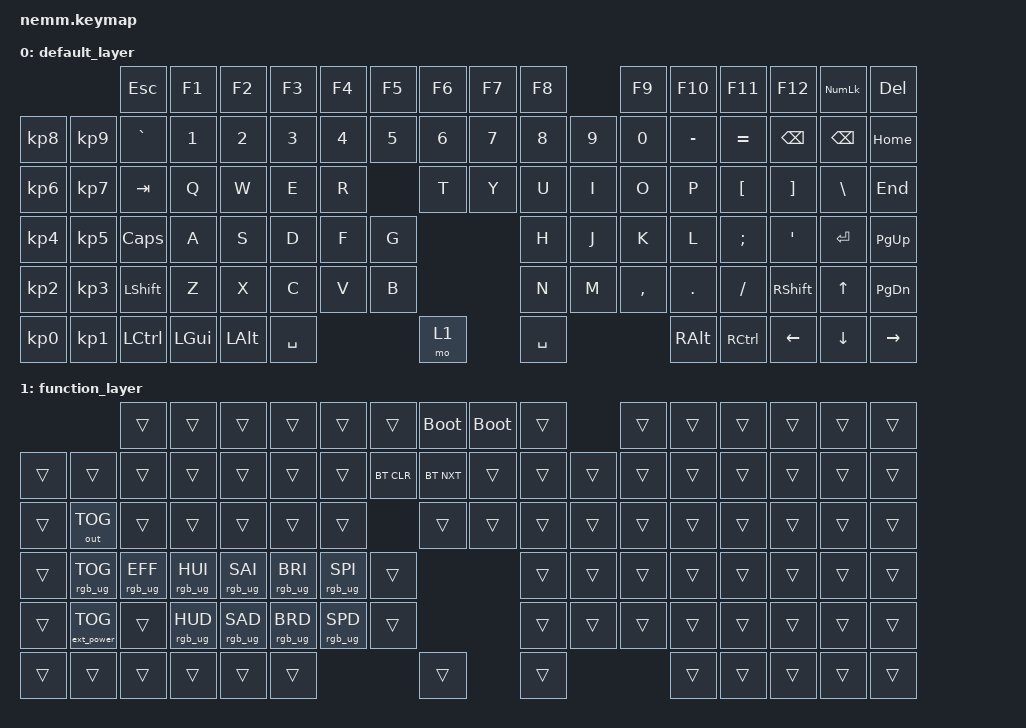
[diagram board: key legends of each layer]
/*
# Copyright (c) 2021 The ZMK Contributors
*
* SPDX-License-Identifier: MIT
*/

#include <behaviors.dtsi>
#include <dt-bindings/zmk/keys.h>
#include <dt-bindings/zmk/bt.h>
#include <dt-bindings/zmk/outputs.h>
#include <dt-bindings/zmk/rgb.h>
#include <dt-bindings/zmk/ext_power.h>

/ {
    keymap {
        compatible = "zmk,keymap";

        default_layer {
            bindings = <
                         &kp ESC    &kp F1    &kp F2     &kp F3  &kp F4  &kp F5  &kp F6  &kp F7     &kp F8             &kp F9    &kp F10    &kp F11    &kp F12  &kp KP_NUMLOCK  &kp DELETE
 &kp KP_N8  &kp KP_N9  &kp GRAVE    &kp N1    &kp N2     &kp N3  &kp N4  &kp N5  &kp N6  &kp N7     &kp N8  &kp N9     &kp N0  &kp MINUS  &kp EQUAL   &kp BSPC        &kp BSPC    &kp HOME
 &kp KP_N6  &kp KP_N7    &kp TAB     &kp Q     &kp W      &kp E   &kp R           &kp T   &kp Y      &kp U   &kp I      &kp O      &kp P   &kp LBKT   &kp RBKT        &kp BSLH     &kp END
 &kp KP_N4  &kp KP_N5   &kp CAPS     &kp A     &kp S      &kp D   &kp F           &kp G   &kp H              &kp J      &kp K      &kp L   &kp SEMI    &kp SQT         &kp RET   &kp PG_UP
 &kp KP_N2  &kp KP_N3  &kp LSHFT     &kp Z     &kp X      &kp C   &kp V           &kp B   &kp N              &kp M  &kp COMMA    &kp DOT   &kp FSLH  &kp RSHFT          &kp UP   &kp PG_DN
 &kp KP_N0  &kp KP_N1  &kp LCTRL  &kp LGUI  &kp LALT  &kp SPACE                   &mo 1          &kp SPACE                      &kp RALT  &kp RCTRL   &kp LEFT        &kp DOWN   &kp RIGHT
            >;
        };

        function_layer {
            bindings = <
                                     &trans           &trans           &trans           &trans           &trans      &trans  &bootloader  &bootloader  &trans          &trans  &trans  &trans  &trans  &trans  &trans
 &trans             &trans           &trans           &trans           &trans           &trans           &trans  &bt BT_CLR   &bt BT_NXT       &trans  &trans  &trans  &trans  &trans  &trans  &trans  &trans  &trans
 &trans       &out OUT_TOG           &trans           &trans           &trans           &trans           &trans                   &trans       &trans  &trans  &trans  &trans  &trans  &trans  &trans  &trans  &trans
 &trans    &rgb_ug RGB_TOG  &rgb_ug RGB_EFF  &rgb_ug RGB_HUI  &rgb_ug RGB_SAI  &rgb_ug RGB_BRI  &rgb_ug RGB_SPI                   &trans       &trans          &trans  &trans  &trans  &trans  &trans  &trans  &trans
 &trans  &ext_power EP_TOG           &trans  &rgb_ug RGB_HUD  &rgb_ug RGB_SAD  &rgb_ug RGB_BRD  &rgb_ug RGB_SPD                   &trans       &trans          &trans  &trans  &trans  &trans  &trans  &trans  &trans
 &trans             &trans           &trans           &trans           &trans           &trans                                    &trans               &trans                  &trans  &trans  &trans  &trans  &trans
            >;
        };
    };
};
